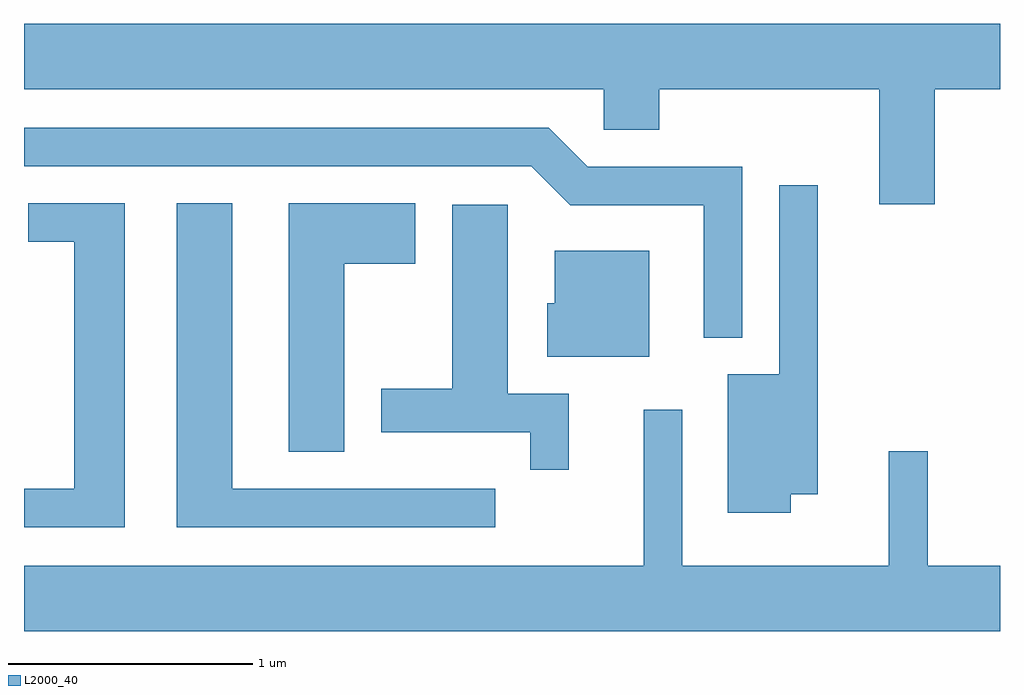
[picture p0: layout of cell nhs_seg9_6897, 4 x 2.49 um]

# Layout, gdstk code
import gdstk
lib = gdstk.Library(unit=1e-6, precision=1e-09)
def P(c, l, *ps):  # polygons
    for p in ps: c.add(gdstk.Polygon(p, *l))
L2000_40 = (2000, 40)

nhs_seg9_6897 = lib.new_cell('nhs_seg9_6897')
P(nhs_seg9_6897, L2000_40, [(389.611,1967.396),(391.986,1967.396),(391.986,1967.231),(392.214,1967.231),(392.214,1967.396),(393.116,1967.396),(393.116,1966.926),(393.344,1966.926),(393.344,1967.396),(393.611,1967.396),(393.611,1967.664),(389.611,1967.664)],
  [(392.554,1967.079),(391.922,1967.079),(391.762,1967.239),(389.611,1967.239),(389.611,1967.081),(391.689,1967.081),(391.849,1966.921),(392.396,1966.921),(392.396,1966.378),(392.554,1966.378)],
  [(392.754,1965.736),(392.864,1965.736),(392.864,1967.003),(392.706,1967.003),(392.706,1966.229),(392.496,1966.229),(392.496,1965.661),(392.754,1965.661)],
  [(390.024,1966.929),(389.628,1966.929),(389.628,1966.771),(389.816,1966.771),(389.816,1965.759),(389.611,1965.759),(389.611,1965.601),(390.024,1965.601)],
  [(391.543,1965.759),(390.464,1965.759),(390.464,1966.929),(390.236,1966.929),(390.236,1965.601),(391.543,1965.601)],
  [(390.924,1966.681),(391.214,1966.681),(391.214,1966.929),(390.696,1966.929),(390.696,1965.911),(390.924,1965.911)],
  [(391.844,1966.149),(391.594,1966.149),(391.594,1966.924),(391.366,1966.924),(391.366,1966.169),(391.076,1966.169),(391.076,1965.991),(391.686,1965.991),(391.686,1965.838),(391.844,1965.838)],
  [(392.174,1966.734),(391.786,1966.734),(391.786,1966.519),(391.756,1966.519),(391.756,1966.301),(392.174,1966.301)],
  [(393.611,1965.444),(393.314,1965.444),(393.314,1965.913),(393.156,1965.913),(393.156,1965.444),(392.309,1965.444),(392.309,1966.083),(392.151,1966.083),(392.151,1965.444),(389.611,1965.444),(389.611,1965.176),(393.611,1965.176)])

lib.write_gds('nhs_seg9_6897.gds')
